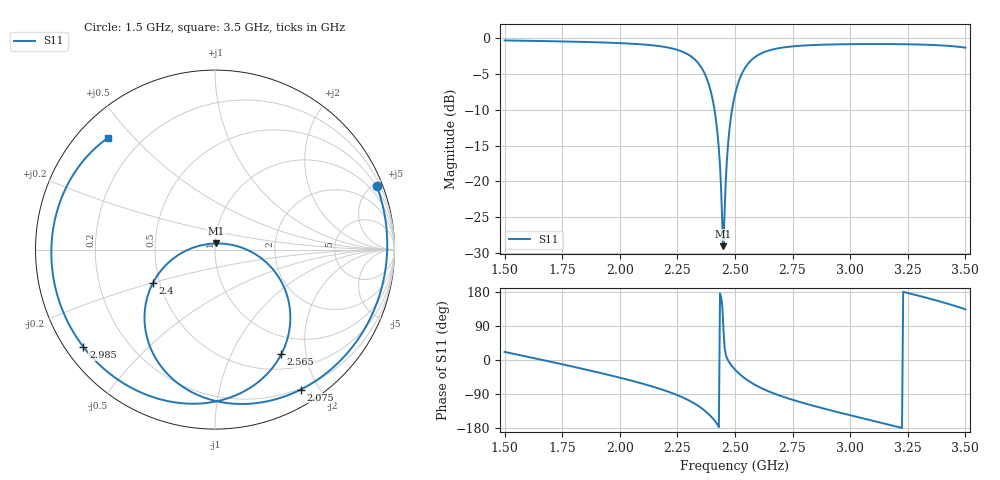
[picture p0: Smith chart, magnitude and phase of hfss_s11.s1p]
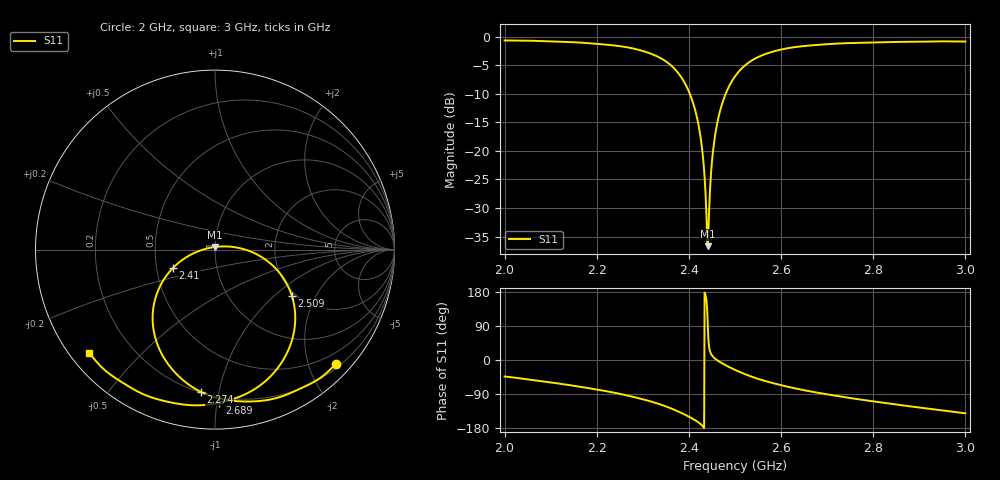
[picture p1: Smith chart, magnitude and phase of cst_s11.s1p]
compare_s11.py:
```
#!/usr/bin/env python3
"""Compare two one-port Touchstone exports at their original sample grids.

Requires Python 3, NumPy and Matplotlib. Run from this folder:
    python compare_s11.py
"""

import argparse
import csv
from dataclasses import dataclass
from pathlib import Path

import matplotlib

matplotlib.use("Agg")
import matplotlib.pyplot as plt
import numpy as np
from matplotlib.ticker import MultipleLocator


@dataclass
class Network:
    label: str
    path: Path
    freq: np.ndarray  # GHz
    s11: np.ndarray
    zref: float
    encoding: str

    @property
    def db(self):
        return 20 * np.log10(np.abs(self.s11))


def read_s1p(path, label):
    """Read standard one-port RI, MA or DB data, including inline comments."""
    option = None
    rows = []
    for number, line in enumerate(path.read_text(encoding="utf-8-sig").splitlines(), 1):
        line = line.split("!", 1)[0].strip()
        if not line:
            continue
        if line.startswith("#"):
            option = line[1:].upper().split()
            continue
        values = line.replace("D", "E").replace("d", "e").split()
        if len(values) != 3:
            raise ValueError(f"{path.name}:{number}: expected one-port, three-column data")
        rows.append([float(value) for value in values])
    if option is None or len(option) != 5 or option[1] != "S" or option[3] != "R":
        raise ValueError(f"{path.name}: unsupported or missing Touchstone option line")
    scale = {"HZ": 1e-9, "KHZ": 1e-6, "MHZ": 1e-3, "GHZ": 1.0}[option[0]]
    data = np.asarray(rows, dtype=float)
    if len(data) < 2 or not np.isfinite(data).all():
        raise ValueError(f"{path.name}: invalid numeric data")
    freq = data[:, 0] * scale
    if not np.all(np.diff(freq) > 0):
        raise ValueError(f"{path.name}: frequencies must increase strictly")
    fmt = option[2]
    if fmt == "RI":
        s11 = data[:, 1] + 1j * data[:, 2]
    elif fmt in ("MA", "DB"):
        magnitude = data[:, 1] if fmt == "MA" else 10 ** (data[:, 1] / 20)
        s11 = magnitude * np.exp(1j * np.deg2rad(data[:, 2]))
    else:
        raise ValueError(f"{path.name}: unsupported format {fmt}")
    zref = float(option[4])
    if zref <= 0 or np.any(np.abs(s11) >= 1) or np.any(np.abs(s11) <= 0):
        raise ValueError(f"{path.name}: invalid reference impedance or reflection magnitude")
    return Network(label, path, freq, s11, zref, fmt)


def crossing(f0, d0, f1, d1, threshold=-10.0):
    return float(f0 + (threshold - d0) * (f1 - f0) / (d1 - d0))


def metrics(net, target, bounds):
    hits = np.flatnonzero(np.isclose(net.freq, target, rtol=0, atol=1e-9))
    if len(hits) != 1:
        raise ValueError(f"{net.label}: target must be an exported frequency sample")
    it = int(hits[0])
    mask = (net.freq >= bounds[0]) & (net.freq <= bounds[1])
    imin = int(np.argmin(np.where(mask, net.db, np.inf)))
    if net.db[imin] >= -10:
        raise ValueError(f"{net.label}: no -10 dB band around sampled minimum")
    left, right = imin, imin
    while left > 0 and net.db[left] <= -10:
        left -= 1
    while right < len(net.freq) - 1 and net.db[right] <= -10:
        right += 1
    if net.db[left] <= -10 or net.db[right] <= -10:
        raise ValueError(f"{net.label}: sweep does not bracket both -10 dB crossings")
    f_low = crossing(net.freq[left], net.db[left], net.freq[left + 1], net.db[left + 1])
    f_high = crossing(net.freq[right - 1], net.db[right - 1], net.freq[right], net.db[right])
    s = net.s11[it]
    z = net.zref * (1 + s) / (1 - s)
    return {
        "solver": net.label,
        "source_file": net.path.name,
        "encoding": net.encoding,
        "reference_impedance_ohm": net.zref,
        "exported_samples": len(net.freq),
        "export_start_GHz": float(net.freq[0]),
        "export_end_GHz": float(net.freq[-1]),
        "export_step_MHz": float(np.median(np.diff(net.freq)) * 1000),
        "target_frequency_GHz": target,
        "s11_at_target_dB": float(net.db[it]),
        "vswr_at_target": float((1 + abs(s)) / (1 - abs(s))),
        "zin_real_at_target_ohm": float(z.real),
        "zin_imag_at_target_ohm": float(z.imag),
        "reflected_power_at_target_percent": float(abs(s) ** 2 * 100),
        "sampled_minimum_frequency_GHz": float(net.freq[imin]),
        "sampled_minimum_s11_dB": float(net.db[imin]),
        "minus10_lower_GHz": f_low,
        "minus10_upper_GHz": f_high,
        "minus10_bandwidth_MHz": (f_high - f_low) * 1000,
        "fractional_bandwidth_percent_at_target": (f_high - f_low) / target * 100,
    }


def make_figure(networks, stats, target, bounds, outdir):
    colors = ("#1769aa", "#d86b20")
    plt.rcParams.update({"font.family": "DejaVu Sans", "font.size": 10.5,
                         "axes.spines.top": False, "axes.spines.right": False,
                         "svg.fonttype": "none"})
    fig, axes = plt.subplots(1, 2, figsize=(13.2, 6.2), sharey=True)
    fig.subplots_adjust(left=.065, right=.975, bottom=.19, top=.755, wspace=.11)
    fig.suptitle("HFSS–CST S11 comparison", fontsize=19, weight="bold", y=.965)
    fig.text(.5, .902, "2.45 GHz inset-fed microstrip patch antenna  ·  50 Ω reference impedance",
             ha="center", color="#4b5563", fontsize=11.5)
    handles = []
    for ax in axes:
        for net, m, color in zip(networks, stats, colors):
            line, = ax.plot(net.freq, net.db, color=color, lw=2.05,
                            label=f"{net.label} ({m['export_step_MHz']:.0f} MHz export grid)")
            if ax is axes[0]:
                handles.append(line)
            ax.scatter(m["sampled_minimum_frequency_GHz"], m["sampled_minimum_s11_dB"],
                       color=color, marker="o", s=40, edgecolor="white", linewidth=.8, zorder=6)
        ax.axhline(-10, color="#6b7280", ls=(0, (5, 3)), lw=1.0)
        ax.axvline(target, color="#737373", ls=(0, (1, 3)), lw=1.2)
        ax.set_ylim(-40, 0)
        ax.set_xlabel("Frequency (GHz)", labelpad=8)
        ax.yaxis.set_major_locator(MultipleLocator(10))
        ax.yaxis.set_minor_locator(MultipleLocator(5))
        ax.grid(axis="both", color="#d8dde3", linewidth=.7)
        ax.grid(which="minor", axis="y", color="#eef0f3", linewidth=.6)
        ax.spines[["left", "bottom"]].set_color("#c4cad2")
        ax.tick_params(length=4, color="#9ca3af")
    axes[0].set_xlim(*bounds)
    axes[0].xaxis.set_major_locator(MultipleLocator(.2))
    axes[0].set_ylabel("S11 (dB)", labelpad=8)
    axes[0].set_title("Common frequency range", loc="left", fontsize=12.5, pad=14)
    axes[1].set_xlim(2.38, 2.52)
    axes[1].xaxis.set_major_locator(MultipleLocator(.02))
    axes[1].set_title("Resonance detail", loc="left", fontsize=12.5, pad=14)
    hfss, cst = stats
    axes[1].plot(networks[0].freq, networks[0].db, linestyle="none", marker=".",
                 markersize=4, color=colors[0], alpha=.9)
    axes[1].scatter(target, cst["s11_at_target_dB"], marker="s", color=colors[1],
                    edgecolor="white", linewidth=.8, s=40, zorder=6)
    annotation_style = {"fontsize": 9.6, "bbox": {"facecolor": "white", "edgecolor": "none",
                                                   "alpha": .95, "pad": 3}}
    axes[1].annotate(f"HFSS @ 2.450 GHz\n{hfss['s11_at_target_dB']:.2f} dB", xy=(target, hfss["s11_at_target_dB"]),
                     xytext=(2.486, -29), color=colors[0],
                     arrowprops={"arrowstyle": "-", "color": colors[0], "lw": .85}, **annotation_style)
    axes[1].annotate(f"CST @ 2.450 GHz\n{cst['s11_at_target_dB']:.2f} dB", xy=(target, cst["s11_at_target_dB"]),
                     xytext=(2.389, -18), color=colors[1],
                     arrowprops={"arrowstyle": "-", "color": colors[1], "lw": .85}, **annotation_style)
    axes[1].annotate(f"CST sampled minimum\n{cst['sampled_minimum_frequency_GHz']:.3f} GHz · {cst['sampled_minimum_s11_dB']:.2f} dB",
                     xy=(cst["sampled_minimum_frequency_GHz"], cst["sampled_minimum_s11_dB"]),
                     xytext=(2.385, -35.8), color=colors[1],
                     arrowprops={"arrowstyle": "-", "color": colors[1], "lw": .85}, **annotation_style)
    axes[0].text(2.014, -9.1, "−10 dB threshold", color="#5f6774", fontsize=9.4,
                 bbox={"facecolor": "white", "edgecolor": "none", "alpha": .9, "pad": 2})
    fig.legend(handles=handles, loc="upper center", bbox_to_anchor=(.5, .874),
               ncol=2, frameon=False, handlelength=2.6, columnspacing=3)
    fig.text(.5, .088, f"−10 dB bandwidth: HFSS ≈ {hfss['minus10_bandwidth_MHz']:.1f} MHz   |   "
             f"CST ≈ {cst['minus10_bandwidth_MHz']:.1f} MHz", ha="center", fontsize=11.1, weight="medium")
    fig.text(.5, .038, "Curves connect original exported samples. Band edges use linear interpolation in dB; "
             "minimum markers identify sampled minima.", ha="center", fontsize=9.3, color="#5f6774")
    fig.savefig(outdir / "hfss_cst_s11_comparison.png", dpi=200, facecolor="white")
    fig.savefig(outdir / "hfss_cst_s11_comparison.svg", facecolor="white")
    plt.close(fig)


def main():
    root = Path(__file__).resolve().parent
    parser = argparse.ArgumentParser(description=__doc__)
    parser.add_argument("--hfss", type=Path, default=root / "data/hfss_s11.s1p")
    parser.add_argument("--cst", type=Path, default=root / "data/cst_s11.s1p")
    parser.add_argument("--outdir", type=Path, default=root / "results")
    parser.add_argument("--target", type=float, default=2.45)
    args = parser.parse_args()
    networks = (read_s1p(args.hfss, "HFSS"), read_s1p(args.cst, "CST TD"))
    if not all(np.isclose(net.zref, 50, rtol=0, atol=1e-9) for net in networks):
        raise ValueError("This comparison requires both exports to use a 50 Ω reference")
    bounds = (max(net.freq[0] for net in networks), min(net.freq[-1] for net in networks))
    if not bounds[0] <= args.target <= bounds[1]:
        raise ValueError("Target is outside the common frequency range")
    stats = [metrics(net, args.target, bounds) for net in networks]
    args.outdir.mkdir(parents=True, exist_ok=True)
    with (args.outdir / "hfss_cst_s11_metrics.csv").open("w", newline="", encoding="utf-8") as stream:
        writer = csv.DictWriter(stream, fieldnames=stats[0].keys())
        writer.writeheader()
        writer.writerows(stats)
    make_figure(networks, stats, args.target, bounds, args.outdir)
    for m in stats:
        print(f"{m['solver']}: S11({args.target:g} GHz) = {m['s11_at_target_dB']:.5f} dB; "
              f"sampled minimum = {m['sampled_minimum_frequency_GHz']:.3f} GHz; "
              f"-10 dB bandwidth ≈ {m['minus10_bandwidth_MHz']:.3f} MHz")


if __name__ == "__main__":
    main()
```
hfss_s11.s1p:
! Touchstone file exported from HFSS 2025.2.4
!  File:  C:/Users/aysen/Documents/Ansoft/Patch_Antenna_2p45GHz_Final.aedt
!  Generated:  12:41:07 AM Oct  9, 2026
!  Design:  HFSSDesign1
!  Project:  Patch_Antenna_2p45GHz_Final
!  Setup:  Setup1
!  Solution:  Sweep
# GHz S MA R 50.000000
! Terminal data exported
! Port[1] = Patch_T1
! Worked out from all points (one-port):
!   401 points, 1.5 GHz to 3.5 GHz, reference 50 ohm
!   lowest |S11| = -29.0 dB at 2.45 GHz (marker M1), VSWR 1.07, Z = 50.6 + j3.5 ohm
!   |S11| at or under -10 dB: 2.411 GHz to 2.487 GHz (76.08 MHz wide, 3.11 % of centre)
!   S11 on the Smith chart (normalised r, x): 1.5 GHz: 0.46, +5.26; 2.075 GHz: 0.19, -1.77; 2.4 GHz: 0.46, -0.20; 2.565 GHz: 0.71, -1.58; 2.985 GHz: 0.05, -0.33; 3.5 GHz: 0.09, +0.42
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1.5  0.9686 21.4
! Gamma 0 0
! Port Impedance 50 0
1.795  0.9502 -17.4
2.075  0.9145 -58.5
2.17  0.8848 -75.3
2.3  0.7666 -106.7
2.4  0.3937 -151.7
2.45  0.0353 78.3
2.49  0.3375 -18.4
2.565  0.6902 -57.7
2.675  0.8461 -89.7
2.835  0.8991 -120.0
2.985  0.912 -143.5
3.26  0.9102 175.4
3.5  0.8621 133.8
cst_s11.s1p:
! TOUCHSTONE file generated by CST MICROWAVE STUDIO
! Date and time: Thu Oct  8 19:25:58 2026
! Project name: InsetFed_PatchAntenna_2p45GHz_CST_TD.cst
! Parameters = {FedL=23.585; CutW=5; PatY=-14.415; Inset=8; FedW=3; PatL=28.54; PatW=37.26; CuH=0.035; SubH=1.6; SubL=60; SubW=50}
! Header version: 2024
! Port assignment regex: !\s*Touchstone port\s*([0-9]+)\s*=\s*(CST MWS port|CST DES external port|CST DES block port)\s*(.+)\s* \(\"(.*)\"\)(\s*mode\s*([0-9]+))?.*
! Touchstone port assignment:
! Touchstone port 1 = CST MWS port 1 ("")
# GHz S RI R 50
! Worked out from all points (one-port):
!   1001 points, 2 GHz to 3 GHz, reference 50 ohm
!   lowest |S11| = -36.7 dB at 2.441 GHz (marker M1), VSWR 1.03, Z = 50 + j1.47 ohm
!   |S11| at or under -10 dB: 2.402 GHz to 2.48 GHz (77.77 MHz wide, 3.19 % of centre)
!   S11 on the Smith chart (normalised r, x): 2 GHz: 0.27, -2.48; 2.274 GHz: 0.20, -0.88; 2.41 GHz: 0.61, -0.13; 2.509 GHz: 1.91, -1.31; 2.689 GHz: 0.16, -1.02; 3 GHz: 0.05, -0.36
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2  0.673 -0.6373
2.161  0.3021 -0.8363
2.274  -0.0808 -0.7918
2.334  -0.2875 -0.5981
2.41  -0.2343 -0.1024
2.427  -0.1162 -0.0189
2.441  0.000491 0.0147
2.453  0.1045 0.0143
2.463  0.1875 -0.00632
2.509  0.428 -0.2571
2.584  0.3538 -0.6541
2.667  0.093 -0.8353
2.689  0.0246 -0.8534
3  -0.7021 -0.5746
